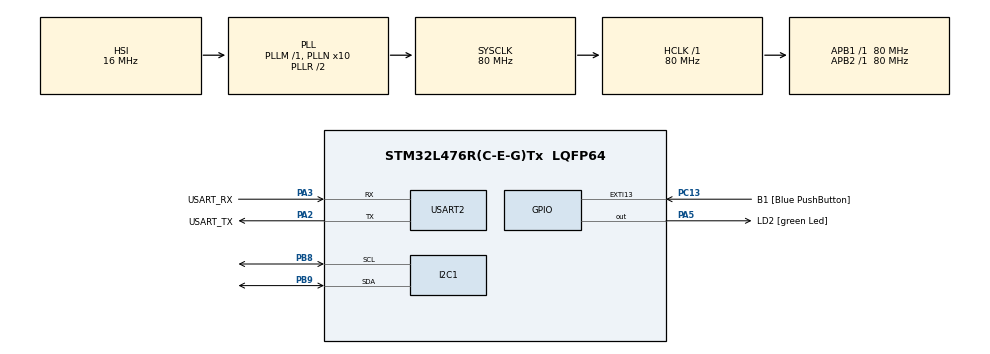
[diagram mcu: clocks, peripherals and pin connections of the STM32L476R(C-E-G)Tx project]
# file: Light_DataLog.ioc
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I2C1.Timing=0x10D19CE4
Mcu.Family=STM32L4
Mcu.Name=STM32L476R(C-E-G)Tx
Mcu.Package=LQFP64
NVIC.PriorityGroup=NVIC_PRIORITYGROUP_4
PA13\ (JTMS-SWDIO).GPIO_Label=TMS
PA13\ (JTMS-SWDIO).Mode=Serial_Wire
PA13\ (JTMS-SWDIO).Signal=SYS_JTMS-SWDIO
PA14\ (JTCK-SWCLK).GPIO_Label=TCK
PA14\ (JTCK-SWCLK).Mode=Serial_Wire
PA14\ (JTCK-SWCLK).Signal=SYS_JTCK-SWCLK
PA2.GPIO_Label=USART_TX
PA2.GPIO_Mode=GPIO_MODE_AF_PP
PA2.GPIO_PuPd=GPIO_NOPULL
PA2.GPIO_Speed=GPIO_SPEED_FREQ_VERY_HIGH
PA2.Mode=Asynchronous
PA2.Signal=USART2_TX
PA3.GPIO_Label=USART_RX
PA3.GPIO_Mode=GPIO_MODE_AF_PP
PA3.GPIO_PuPd=GPIO_NOPULL
PA3.GPIO_Speed=GPIO_SPEED_FREQ_VERY_HIGH
PA3.Mode=Asynchronous
PA3.Signal=USART2_RX
PA5.GPIO_Label=LD2 [green Led]
PA5.GPIO_ModeDefaultOutputPP=GPIO_MODE_OUTPUT_PP
PA5.GPIO_PuPd=GPIO_NOPULL
PA5.GPIO_Speed=GPIO_SPEED_FREQ_LOW
PA5.Signal=GPIO_Output
PB3\ (JTDO-TRACESWO).GPIO_Label=SWO
PB3\ (JTDO-TRACESWO).Signal=SYS_JTDO-SWO
PB8.Mode=I2C
PB8.Signal=I2C1_SCL
PB9.Mode=I2C
PB9.Signal=I2C1_SDA
PC13.GPIO_Label=B1 [Blue PushButton]
PC13.GPIO_ModeDefaultEXTI=GPIO_MODE_IT_FALLING
PC13.GPIO_PuPd=GPIO_NOPULL
PC13.Signal=GPXTI13
PC14-OSC32_IN\ (PC14).Mode=LSE-External-Oscillator
PC14-OSC32_IN\ (PC14).Signal=RCC_OSC32_IN
PC15-OSC32_OUT\ (PC15).Mode=LSE-External-Oscillator
PC15-OSC32_OUT\ (PC15).Signal=RCC_OSC32_OUT
PH0-OSC_IN\ (PH0).Signal=RCC_OSC_IN
PH1-OSC_OUT\ (PH1).Signal=RCC_OSC_OUT
ProjectManager.HeapSize=0x200
ProjectManager.StackSize=0x400
ProjectManager.TargetToolchain=STM32CubeIDE
RCC.ADCFreq_Value=64000000
RCC.AHBFreq_Value=80000000
RCC.APB1Freq_Value=80000000
RCC.APB1TimFreq_Value=80000000
RCC.APB2Freq_Value=80000000
RCC.APB2TimFreq_Value=80000000
RCC.CortexFreq_Value=80000000
RCC.HCLKFreq_Value=80000000
RCC.HSE_VALUE=8000000
RCC.HSI_VALUE=16000000
RCC.MSI_VALUE=4000000
RCC.PLLN=10
RCC.PLLSourceVirtual=RCC_PLLSOURCE_HSI
RCC.PREFETCH_ENABLE=1
RCC.SYSCLKFreq_VALUE=80000000
RCC.SYSCLKSource=RCC_SYSCLKSOURCE_PLLCLK
RCC.USBFreq_Value=64000000
RCC.VCOOutputFreq_Value=160000000
USART2.VirtualMode-Asynchronous=VM_ASYNC
board=NUCLEO-L476RG

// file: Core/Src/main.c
/* USER CODE BEGIN Header */
/**
  ******************************************************************************
  * @file           : main.c
  * @brief          : Main program body
  ******************************************************************************
  * @attention
  *
  * Copyright (c) 2025 STMicroelectronics.
  * All rights reserved.
  *
  * This software is licensed under terms that can be found in the LICENSE file
  * in the root directory of this software component.
  * If no LICENSE file comes with this software, it is provided AS-IS.
  *
  ******************************************************************************
  */
/* USER CODE END Header */
#include "main.h"

/* USER CODE BEGIN Includes */
#include "stdio.h"
#include "string.h"
#include "bh1750.h"
/* USER CODE END Includes */

/* USER CODE BEGIN PD */
#define Buffer 256
#define Axis 1
/* USER CODE END PD */

I2C_HandleTypeDef hi2c1;

UART_HandleTypeDef huart2;

/* USER CODE BEGIN PV */
float light;
float light_buffer[Buffer*Axis] = {0};
/* USER CODE END PV */

void SystemClock_Config(void);
static void MX_GPIO_Init(void);
static void MX_USART2_UART_Init(void);
static void MX_I2C1_Init(void);
/* USER CODE BEGIN PFP */
void fill_light_buffer();
void Log();
/* USER CODE END PFP */

int main(void)
{

  /* MCU Configuration--------------------------------------------------------*/

  /* Reset of all peripherals, Initializes the Flash interface and the Systick. */
  HAL_Init();

  /* Configure the system clock */
  SystemClock_Config();

  /* Initialize all configured peripherals */
  MX_GPIO_Init();
  MX_USART2_UART_Init();
  MX_I2C1_Init();
  /* USER CODE BEGIN 2 */
  BH1750_Init(&hi2c1);
  /* USER CODE END 2 */

  /* Infinite loop */
  while (1)
  {

    /* USER CODE BEGIN 3 */
	  Log();
//	  float light1=BH1750_ReadLux(&hi2c1);
//	  printf("%.2f\r\n",light1);
//	  HAL_Delay(1000);
  }
  /* USER CODE END 3 */
}

void SystemClock_Config(void)
{
  RCC_OscInitTypeDef RCC_OscInitStruct = {0};
  RCC_ClkInitTypeDef RCC_ClkInitStruct = {0};

  /** Configure the main internal regulator output voltage
  */
  if (HAL_PWREx_ControlVoltageScaling(PWR_REGULATOR_VOLTAGE_SCALE1) != HAL_OK)
  {
    Error_Handler();
  }

  /** Initializes the RCC Oscillators according to the specified parameters
  * in the RCC_OscInitTypeDef structure.
  */
  RCC_OscInitStruct.OscillatorType = RCC_OSCILLATORTYPE_HSI;
  RCC_OscInitStruct.HSIState = RCC_HSI_ON;
  RCC_OscInitStruct.HSICalibrationValue = RCC_HSICALIBRATION_DEFAULT;
  RCC_OscInitStruct.PLL.PLLState = RCC_PLL_ON;
  RCC_OscInitStruct.PLL.PLLSource = RCC_PLLSOURCE_HSI;
  RCC_OscInitStruct.PLL.PLLM = 1;
  RCC_OscInitStruct.PLL.PLLN = 10;
  RCC_OscInitStruct.PLL.PLLP = RCC_PLLP_DIV7;
  RCC_OscInitStruct.PLL.PLLQ = RCC_PLLQ_DIV2;
  RCC_OscInitStruct.PLL.PLLR = RCC_PLLR_DIV2;
  if (HAL_RCC_OscConfig(&RCC_OscInitStruct) != HAL_OK)
  {
    Error_Handler();
  }

  /** Initializes the CPU, AHB and APB buses clocks
  */
  RCC_ClkInitStruct.ClockType = RCC_CLOCKTYPE_HCLK|RCC_CLOCKTYPE_SYSCLK
                              |RCC_CLOCKTYPE_PCLK1|RCC_CLOCKTYPE_PCLK2;
  RCC_ClkInitStruct.SYSCLKSource = RCC_SYSCLKSOURCE_PLLCLK;
  RCC_ClkInitStruct.AHBCLKDivider = RCC_SYSCLK_DIV1;
  RCC_ClkInitStruct.APB1CLKDivider = RCC_HCLK_DIV1;
  RCC_ClkInitStruct.APB2CLKDivider = RCC_HCLK_DIV1;

  if (HAL_RCC_ClockConfig(&RCC_ClkInitStruct, FLASH_LATENCY_4) != HAL_OK)
  {
    Error_Handler();
  }
}

static void MX_I2C1_Init(void)
{

  hi2c1.Instance = I2C1;
  hi2c1.Init.Timing = 0x10D19CE4;
  hi2c1.Init.OwnAddress1 = 0;
  hi2c1.Init.AddressingMode = I2C_ADDRESSINGMODE_7BIT;
  hi2c1.Init.DualAddressMode = I2C_DUALADDRESS_DISABLE;
  hi2c1.Init.OwnAddress2 = 0;
  hi2c1.Init.OwnAddress2Masks = I2C_OA2_NOMASK;
  hi2c1.Init.GeneralCallMode = I2C_GENERALCALL_DISABLE;
  hi2c1.Init.NoStretchMode = I2C_NOSTRETCH_DISABLE;
  if (HAL_I2C_Init(&hi2c1) != HAL_OK)
  {
    Error_Handler();
  }

  /** Configure Analogue filter
  */
  if (HAL_I2CEx_ConfigAnalogFilter(&hi2c1, I2C_ANALOGFILTER_ENABLE) != HAL_OK)
  {
    Error_Handler();
  }

  /** Configure Digital filter
  */
  if (HAL_I2CEx_ConfigDigitalFilter(&hi2c1, 0) != HAL_OK)
  {
    Error_Handler();
  }

}

static void MX_USART2_UART_Init(void)
{

  huart2.Instance = USART2;
  huart2.Init.BaudRate = 115200;
  huart2.Init.WordLength = UART_WORDLENGTH_8B;
  huart2.Init.StopBits = UART_STOPBITS_1;
  huart2.Init.Parity = UART_PARITY_NONE;
  huart2.Init.Mode = UART_MODE_TX_RX;
  huart2.Init.HwFlowCtl = UART_HWCONTROL_NONE;
  huart2.Init.OverSampling = UART_OVERSAMPLING_16;
  huart2.Init.OneBitSampling = UART_ONE_BIT_SAMPLE_DISABLE;
  huart2.AdvancedInit.AdvFeatureInit = UART_ADVFEATURE_NO_INIT;
  if (HAL_UART_Init(&huart2) != HAL_OK)
  {
    Error_Handler();
  }

}

static void MX_GPIO_Init(void)
{
  GPIO_InitTypeDef GPIO_InitStruct = {0};

  /* GPIO Ports Clock Enable */
  __HAL_RCC_GPIOC_CLK_ENABLE();
  __HAL_RCC_GPIOH_CLK_ENABLE();
  __HAL_RCC_GPIOA_CLK_ENABLE();
  __HAL_RCC_GPIOB_CLK_ENABLE();

  /*Configure GPIO pin Output Level */
  HAL_GPIO_WritePin(LD2_GPIO_Port, LD2_Pin, GPIO_PIN_RESET);

  /*Configure GPIO pin : B1_Pin */
  GPIO_InitStruct.Pin = B1_Pin;
  GPIO_InitStruct.Mode = GPIO_MODE_IT_FALLING;
  GPIO_InitStruct.Pull = GPIO_NOPULL;
  HAL_GPIO_Init(B1_GPIO_Port, &GPIO_InitStruct);

  /*Configure GPIO pin : LD2_Pin */
  GPIO_InitStruct.Pin = LD2_Pin;
  GPIO_InitStruct.Mode = GPIO_MODE_OUTPUT_PP;
  GPIO_InitStruct.Pull = GPIO_NOPULL;
  GPIO_InitStruct.Speed = GPIO_SPEED_FREQ_LOW;
  HAL_GPIO_Init(LD2_GPIO_Port, &GPIO_InitStruct);

}

/* USER CODE BEGIN 4 */
void fill_light_buffer(){
	for(int i=0; i<Buffer; i++){
		light = BH1750_ReadLux(&hi2c1);
		light_buffer[Axis*i] = light;
		HAL_Delay(3);
	}
}

void Log(){
	fill_light_buffer();
	for(int i=0; i<Buffer; i++){
		printf("%.2f ", light_buffer[Axis]);
	}
	printf("\r\n");
}

int __io_putchar(int ch){
	HAL_UART_Transmit(&huart2, (uint8_t*)&ch, 1, HAL_MAX_DELAY);
	return ch;
}
/* USER CODE END 4 */

void Error_Handler(void)
{
  __disable_irq();
  while (1)
  {
  }
}
